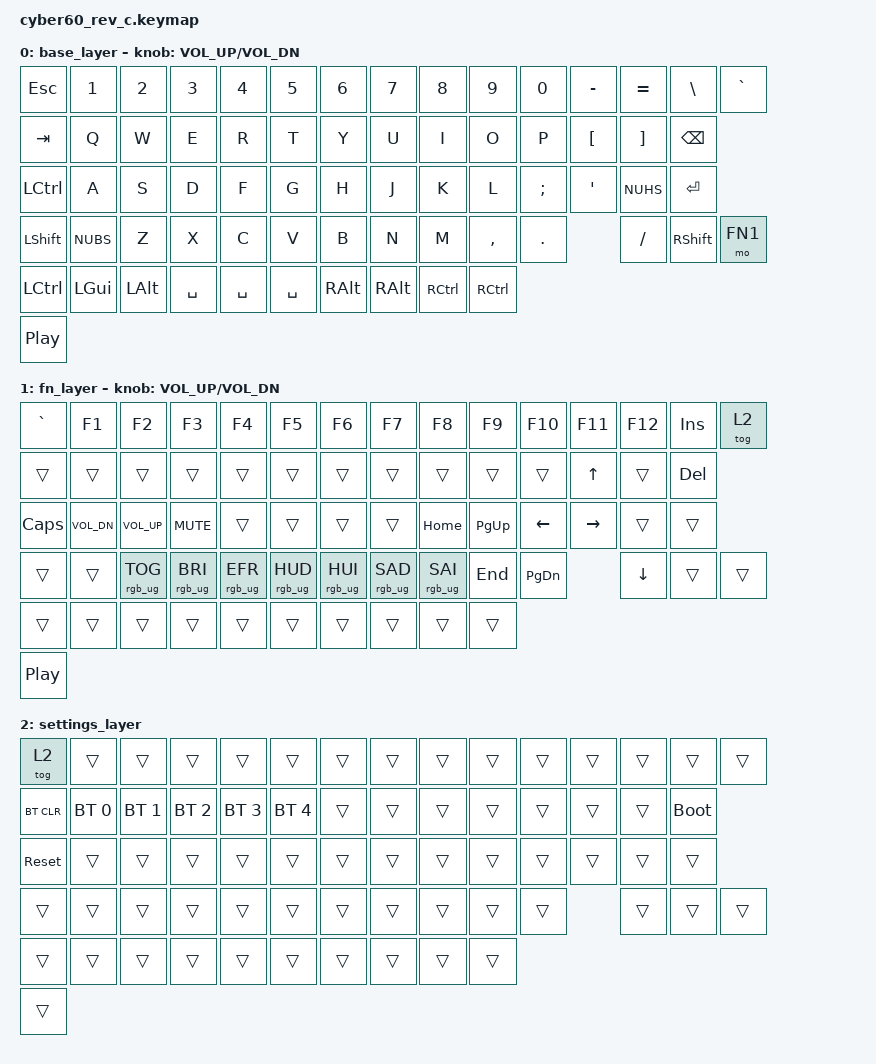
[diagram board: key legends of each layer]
#include <behaviors.dtsi>
#include <dt-bindings/zmk/bt.h>
#include <dt-bindings/zmk/keys.h>
#include <dt-bindings/zmk/rgb.h>

#define FN1 1

/ {
    keymap {
        compatible = "zmk,keymap";

        base_layer {
            // Base layer
            // ------------------------------------------------------------------------------------------
            // | ESC |  1  |  2  |  3  |  4  |  5  |  6  |  7  |  8  |  9  |  0  |  -  |  =  |   BKSP   |
            // |  TAB |  Q  |  W  |  E  |  R  |  T  |  Y  |  U  |  I  |  O  |  P  |  [  |  ]  |   "|"   |
            // | CAPS  |  A  |  S  |  D  |  F  |  G  |  H  |  J  |  K  |  L  |  ;  |  '  |NUHS| ENTER   |
            // | SHIFT |NUBS| Z |  X  |  C  |  V  |  B  |  N  |  M  |  ,  |  .  |  /  |    Shift   | FN |
            // |  LCTL  |  LWIN  |  LALT  | SPACE  | SPACE |    SPACE   |  RALT | FN  |   RWIN  | RCTRL |
            // | Rotary | (<-- Rotary switch) ----------------------------------------------------------- 

            bindings = <
&kp ESC    &kp N1    &kp N2    &kp N3     &kp N4     &kp N5     &kp N6    &kp N7         &kp N8     &kp N9     &kp N0    &kp MINUS  &kp EQUAL  &kp BSLH       &kp GRAVE
&kp TAB    &kp Q     &kp W     &kp E      &kp R      &kp T      &kp Y     &kp U          &kp I      &kp O      &kp P     &kp LBKT   &kp RBKT   &kp BACKSPACE
&kp LCTRL  &kp A     &kp S     &kp D      &kp F      &kp G      &kp H     &kp J          &kp K      &kp L      &kp SEMI  &kp SQT    &kp NUHS   &kp RET
&kp LSHFT  &kp NUBS  &kp Z     &kp X      &kp C      &kp V      &kp B     &kp N          &kp M      &kp COMMA  &kp DOT              &kp FSLH   &kp RSHFT      &mo FN1
&kp LCTRL  &kp LGUI  &kp LALT  &kp SPACE  &kp SPACE  &kp SPACE  &kp RALT  &kp RIGHT_ALT  &kp RCTRL  &kp RCTRL
&kp C_PP
            >;

            sensor-bindings = <&inc_dec_kp C_VOL_UP C_VOL_DN>;
        };

        fn_layer {
            // Function layer
            // ------------------------------------------------------------------------------------------
            // | RESET | F1 |  F2 |  F3 |  F4 |  F5 |  F6 |  F7 |  F8 |  F9 | F10 | F11 | F12 |TRNS | DEL |
            // |BT_CLR |TRNS | UP  | BT0 | BT1 | BT2 | BT3 | BT4 | TRNS | TRNS | TRNS | TRNS | TRNS | TRNS|
            // | BOOTL  |LEFT |DOWN |RIGHT|TRNS |TRNS |TRNS | TRNS| TRNS |TRNS| TRNS |TRNS | TRNS | TRNS  |
            // | TRNS |TRNS|TRNS|TRNS|TRNS | TRNS| TRNS | TRNS |  TRNS| TRNS | TRNS| TRNS |   TRNS   |TRNS|
            // |  TRNS | TRNS | TRNS |      TRNS      | TRNS |     TRNS     |  TRNS |  TRNS | TRNS | TRNS |
            // | Rotary | (<-- Rotary switch) ----------------------------------------------------------- 

            bindings = <
&kp GRAVE  &kp F1        &kp F2           &kp F3           &kp F4           &kp F5           &kp F6           &kp F7           &kp F8           &kp F9       &kp F10        &kp F11    &kp F12   &kp INSERT  &tog 2
&trans     &trans        &trans           &trans           &trans           &trans           &trans           &trans           &trans           &trans       &trans         &kp UP     &trans    &kp DEL
&kp CAPS   &kp C_VOL_DN  &kp C_VOLUME_UP  &kp C_MUTE       &trans           &trans           &trans           &trans           &kp HOME         &kp PAGE_UP  &kp LEFT       &kp RIGHT  &trans    &trans
&trans     &trans        &rgb_ug RGB_TOG  &rgb_ug RGB_BRI  &rgb_ug RGB_EFR  &rgb_ug RGB_HUD  &rgb_ug RGB_HUI  &rgb_ug RGB_SAD  &rgb_ug RGB_SAI  &kp END      &kp PAGE_DOWN             &kp DOWN  &trans      &trans
&trans     &trans        &trans           &trans           &trans           &trans           &trans           &trans           &trans           &trans
&kp C_PP
            >;

            sensor-bindings = <&inc_dec_kp C_VOL_UP C_VOL_DN>;
        };

        settings_layer {
            bindings = <
&tog 2      &trans        &trans        &trans        &trans        &trans        &trans  &trans  &trans  &trans  &trans  &trans  &trans  &trans       &trans
&bt BT_CLR  &bt BT_SEL 0  &bt BT_SEL 1  &bt BT_SEL 2  &bt BT_SEL 3  &bt BT_SEL 4  &trans  &trans  &trans  &trans  &trans  &trans  &trans  &bootloader
&sys_reset  &trans        &trans        &trans        &trans        &trans        &trans  &trans  &trans  &trans  &trans  &trans  &trans  &trans
&trans      &trans        &trans        &trans        &trans        &trans        &trans  &trans  &trans  &trans  &trans          &trans  &trans       &trans
&trans      &trans        &trans        &trans        &trans        &trans        &trans  &trans  &trans  &trans
&trans
            >;
        };
    };
};
